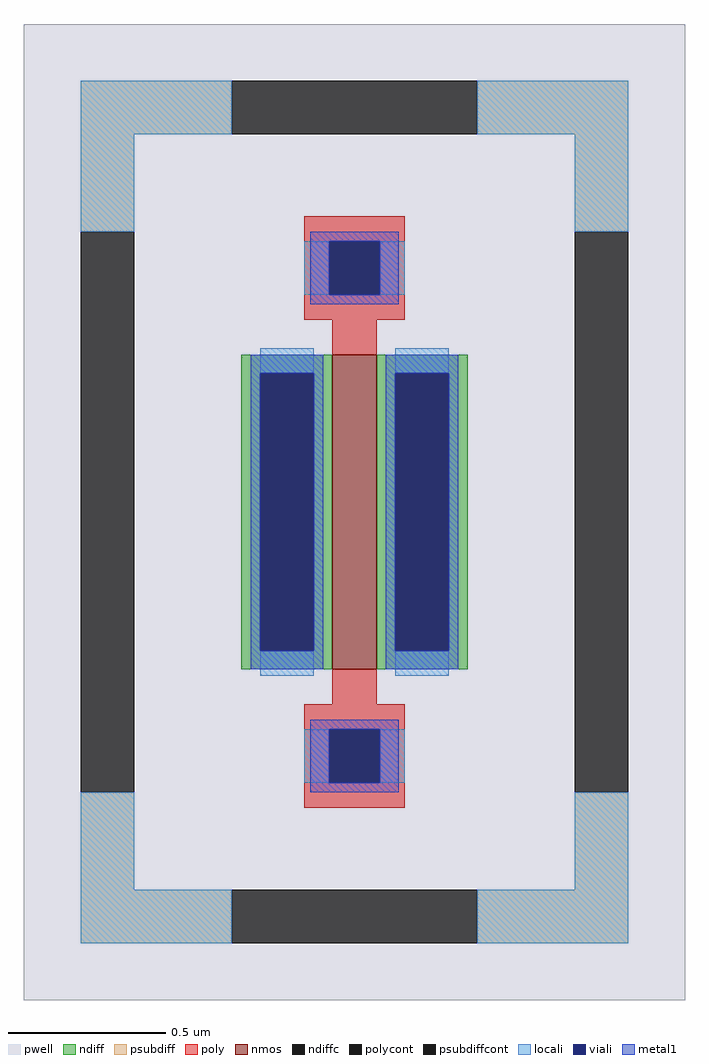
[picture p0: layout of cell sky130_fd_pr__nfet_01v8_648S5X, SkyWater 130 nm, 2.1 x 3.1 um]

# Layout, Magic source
magic
tech sky130A
<< pwell >>
rect -105 -155 105 155
<< nmos >>
rect -7 -50 7 50
<< ndiff >>
rect -36 44 -7 50
rect -36 -44 -30 44
rect -13 -44 -7 44
rect -36 -50 -7 -44
rect 7 44 36 50
rect 7 -44 13 44
rect 30 -44 36 44
rect 7 -50 36 -44
<< ndiffc >>
rect -30 -44 -13 44
rect 13 -44 30 44
<< psubdiff >>
rect -87 120 -39 137
rect 39 120 87 137
rect -87 89 -70 120
rect 70 89 87 120
rect -87 -120 -70 -89
rect 70 -120 87 -89
rect -87 -137 -39 -120
rect 39 -137 87 -120
<< psubdiffcont >>
rect -39 120 39 137
rect -87 -89 -70 89
rect 70 -89 87 89
rect -39 -137 39 -120
<< poly >>
rect -16 86 16 94
rect -16 69 -8 86
rect 8 69 16 86
rect -16 61 16 69
rect -7 50 7 61
rect -7 -61 7 -50
rect -16 -69 16 -61
rect -16 -86 -8 -69
rect 8 -86 16 -69
rect -16 -94 16 -86
<< polycont >>
rect -8 69 8 86
rect -8 -86 8 -69
<< locali >>
rect -87 120 -39 137
rect 39 120 87 137
rect -87 89 -70 120
rect 70 89 87 120
rect -16 69 -8 86
rect 8 69 16 86
rect -30 44 -13 52
rect -30 -52 -13 -44
rect 13 44 30 52
rect 13 -52 30 -44
rect -16 -86 -8 -69
rect 8 -86 16 -69
rect -87 -120 -70 -89
rect 70 -120 87 -89
rect -87 -137 -39 -120
rect 39 -137 87 -120
<< viali >>
rect -8 69 8 86
rect -30 -44 -13 44
rect 13 -44 30 44
rect -8 -86 8 -69
<< metal1 >>
rect -14 86 14 89
rect -14 69 -8 86
rect 8 69 14 86
rect -14 66 14 69
rect -33 44 -10 50
rect -33 -44 -30 44
rect -13 -44 -10 44
rect -33 -50 -10 -44
rect 10 44 33 50
rect 10 -44 13 44
rect 30 -44 33 44
rect 10 -50 33 -44
rect -14 -69 14 -66
rect -14 -86 -8 -69
rect 8 -86 14 -69
rect -14 -89 14 -86
<< properties >>
string FIXED_BBOX -79 -128 79 128
string gencell sky130_fd_pr__nfet_01v8
string library sky130
string parameters w 1.0 l 0.15 m 1 nf 1 diffcov 100 polycov 100 guard 1 glc 1 grc 1 gtc 1 gbc 1 tbcov 100 rlcov 100 topc 1 botc 1 poverlap 0 doverlap 1 lmin 0.15 wmin 0.42 compatible {sky130_fd_pr__nfet_01v8 sky130_fd_pr__nfet_01v8_lvt  sky130_fd_bs_flash__special_sonosfet_star  sky130_fd_pr__nfet_g5v0d10v5 sky130_fd_pr__nfet_05v0_nvt  sky130_fd_pr__nfet_03v3_nvt} full_metal 1 viasrc 100 viadrn 100 viagate 100 viagb 0 viagr 0 viagl 0 viagt 0
<< end >>
